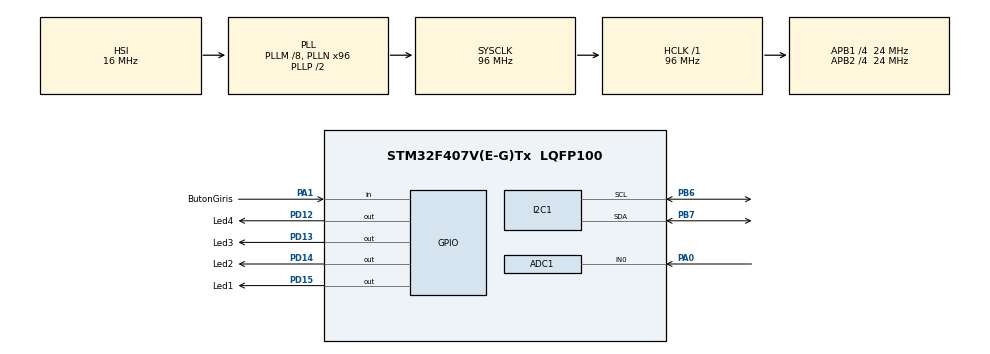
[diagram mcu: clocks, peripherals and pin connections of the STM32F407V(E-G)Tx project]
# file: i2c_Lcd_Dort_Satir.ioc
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ADC1.Channel-0\#ChannelRegularConversion=ADC_CHANNEL_0
ADC1.ClockPrescaler=ADC_CLOCK_SYNC_PCLK_DIV4
ADC1.ContinuousConvMode=ENABLE
ADC1.InjNumberOfConversion=0
ADC1.NbrOfConversionFlag=1
ADC1.Rank-0\#ChannelRegularConversion=1
ADC1.SamplingTime-0\#ChannelRegularConversion=ADC_SAMPLETIME_56CYCLES
ADC1.ScanConvMode=DISABLE
ADC1.master=1
Mcu.Family=STM32F4
Mcu.Name=STM32F407V(E-G)Tx
Mcu.Package=LQFP100
NVIC.PriorityGroup=NVIC_PRIORITYGROUP_4
PA0-WKUP.Signal=ADCx_IN0
PA1.GPIO_Label=ButonGiris
PA1.Signal=GPIO_Input
PB6.Mode=I2C
PB6.Signal=I2C1_SCL
PB7.Mode=I2C
PB7.Signal=I2C1_SDA
PD12.GPIO_Label=Led4
PD12.Signal=GPIO_Output
PD13.GPIO_Label=Led3
PD13.Signal=GPIO_Output
PD14.GPIO_Label=Led2
PD14.Signal=GPIO_Output
PD15.GPIO_Label=Led1
PD15.Signal=GPIO_Output
PH0-OSC_IN.Mode=HSE-External-Oscillator
PH0-OSC_IN.Signal=RCC_OSC_IN
PH1-OSC_OUT.Mode=HSE-External-Oscillator
PH1-OSC_OUT.Signal=RCC_OSC_OUT
ProjectManager.HeapSize=0x200
ProjectManager.StackSize=0x400
ProjectManager.TargetToolchain=STM32CubeIDE
RCC.48MHZClocksFreq_Value=48000000
RCC.AHBFreq_Value=96000000
RCC.APB1CLKDivider=RCC_HCLK_DIV4
RCC.APB1Freq_Value=24000000
RCC.APB1TimFreq_Value=48000000
RCC.APB2CLKDivider=RCC_HCLK_DIV4
RCC.APB2Freq_Value=24000000
RCC.APB2TimFreq_Value=48000000
RCC.CortexFreq_Value=96000000
RCC.HCLKFreq_Value=96000000
RCC.HSE_VALUE=8000000
RCC.HSI_VALUE=16000000
RCC.LSE_VALUE=32768
RCC.PLLM=8
RCC.PLLN=96
RCC.SYSCLKFreq_VALUE=96000000
RCC.SYSCLKSource=RCC_SYSCLKSOURCE_PLLCLK
RCC.VCOOutputFreq_Value=192000000
SH.ADCx_IN0.0=ADC1_IN0,IN0
board=custom

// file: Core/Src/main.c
/* USER CODE BEGIN Header */
/**
  ******************************************************************************
  * @file           : main.c
  * @brief          : Main program body
  ******************************************************************************
  * @attention
  *
  * Copyright (c) 2025 STMicroelectronics.
  * All rights reserved.
  *
  * This software is licensed under terms that can be found in the LICENSE file
  * in the root directory of this software component.
  * If no LICENSE file comes with this software, it is provided AS-IS.
  *
  ******************************************************************************
  */
/* USER CODE END Header */
#include "main.h"

/* USER CODE BEGIN Includes */

#include "fixajLCD.h"
LCD_t lcd;
uint8_t Sayac=0;
const char* Sayi[10];
uint16_t adc_deger;
uint8_t tekSay=0;

/* USER CODE END Includes */

ADC_HandleTypeDef hadc1;

I2C_HandleTypeDef hi2c1;

void SystemClock_Config(void);
static void MX_GPIO_Init(void);
static void MX_I2C1_Init(void);
static void MX_ADC1_Init(void);

/* USER CODE BEGIN 0 */

uint16_t Read_Adc()
{
	HAL_ADC_Start(&hadc1);
	if(HAL_ADC_PollForConversion(&hadc1, 100000) == HAL_OK)
		adc_deger = HAL_ADC_GetValue(&hadc1);

	HAL_ADC_Stop(&hadc1);
}

/* USER CODE END 0 */

int main(void)
{

  /* MCU Configuration--------------------------------------------------------*/

  /* Reset of all peripherals, Initializes the Flash interface and the Systick. */

	HAL_Init();

  /* Configure the system clock */
  SystemClock_Config();

  /* Initialize all configured peripherals */
  MX_GPIO_Init();
  MX_I2C1_Init();
  MX_ADC1_Init();
  /* USER CODE BEGIN 2 */
  if(LCD_kur(&hi2c1, 0x27, 20, 4, &lcd) !=LCD_OK)
  {
  	while(1)
  	{
  		HAL_Delay(250);
  	}
  }

  LCD_temizle(&lcd);
  LCD_ortala(&lcd, 0, "LORA-STM32-C++");
  LCD_yaz_pozisyon(&lcd, 0, 1,"YAZILIM/OTOMASYON");
  LCD_yaz_pozisyon(&lcd, 0, 2, "YAZILIM/KURULUM");
  LCD_yaz_pozisyon(&lcd, 0, 3, "ALI DOGAN");

  /* USER CODE END 2 */

  /* Infinite loop */
  while (1)
  {

    /* USER CODE BEGIN 3 */

	  Read_Adc();
	  Sayac =99  * adc_deger /4095;

	  sprintf(Sayi, "%d", Sayac);

	  if(Sayac <= 9)
	  {
		  LCD_yaz_pozisyon(&lcd, 11, 3, " ");
		  LCD_yaz_pozisyon(&lcd, 12, 3, Sayi);
		  tekSay = 0;
	  }

	  else if(Sayac <= 9)
	  {		LCD_yaz_pozisyon(&lcd, 11, 3, " ");
		/*  if(tekSay == 0)
	  	  {
		  LCD_yaz_pozisyon(&lcd, 12, 3, "0");
	  	  LCD_yaz_pozisyon(&lcd, 11, 3, Sayi);
	  	  tekSay++;
	  	  }*/
	  }

	  else if(Sayac >= 10 && Sayac <=99)
		  LCD_yaz_pozisyon(&lcd, 11, 3, Sayi);

	  else if(Sayac >=100 && Sayac <= 120 )
		  LCD_yaz_pozisyon(&lcd, 10, 3, Sayi);

	  else if(Sayac >= 100)
	  {
		  Sayac = 0;
		  LCD_satir_temizle(&lcd, 3);
		  LCD_yaz_pozisyon(&lcd, 10, 3, "    ");
	  }
  }
  /* USER CODE END 3 */
}

void SystemClock_Config(void)
{
  RCC_OscInitTypeDef RCC_OscInitStruct = {0};
  RCC_ClkInitTypeDef RCC_ClkInitStruct = {0};

  /** Configure the main internal regulator output voltage
  */
  __HAL_RCC_PWR_CLK_ENABLE();
  __HAL_PWR_VOLTAGESCALING_CONFIG(PWR_REGULATOR_VOLTAGE_SCALE1);

  /** Initializes the RCC Oscillators according to the specified parameters
  * in the RCC_OscInitTypeDef structure.
  */
  RCC_OscInitStruct.OscillatorType = RCC_OSCILLATORTYPE_HSI;
  RCC_OscInitStruct.HSIState = RCC_HSI_ON;
  RCC_OscInitStruct.HSICalibrationValue = RCC_HSICALIBRATION_DEFAULT;
  RCC_OscInitStruct.PLL.PLLState = RCC_PLL_ON;
  RCC_OscInitStruct.PLL.PLLSource = RCC_PLLSOURCE_HSI;
  RCC_OscInitStruct.PLL.PLLM = 8;
  RCC_OscInitStruct.PLL.PLLN = 96;
  RCC_OscInitStruct.PLL.PLLP = RCC_PLLP_DIV2;
  RCC_OscInitStruct.PLL.PLLQ = 4;
  if (HAL_RCC_OscConfig(&RCC_OscInitStruct) != HAL_OK)
  {
    Error_Handler();
  }

  /** Initializes the CPU, AHB and APB buses clocks
  */
  RCC_ClkInitStruct.ClockType = RCC_CLOCKTYPE_HCLK|RCC_CLOCKTYPE_SYSCLK
                              |RCC_CLOCKTYPE_PCLK1|RCC_CLOCKTYPE_PCLK2;
  RCC_ClkInitStruct.SYSCLKSource = RCC_SYSCLKSOURCE_PLLCLK;
  RCC_ClkInitStruct.AHBCLKDivider = RCC_SYSCLK_DIV1;
  RCC_ClkInitStruct.APB1CLKDivider = RCC_HCLK_DIV4;
  RCC_ClkInitStruct.APB2CLKDivider = RCC_HCLK_DIV4;

  if (HAL_RCC_ClockConfig(&RCC_ClkInitStruct, FLASH_LATENCY_3) != HAL_OK)
  {
    Error_Handler();
  }
}

static void MX_ADC1_Init(void)
{

  ADC_ChannelConfTypeDef sConfig = {0};

  /** Configure the global features of the ADC (Clock, Resolution, Data Alignment and number of conversion)
  */
  hadc1.Instance = ADC1;
  hadc1.Init.ClockPrescaler = ADC_CLOCK_SYNC_PCLK_DIV4;
  hadc1.Init.Resolution = ADC_RESOLUTION_12B;
  hadc1.Init.ScanConvMode = DISABLE;
  hadc1.Init.ContinuousConvMode = ENABLE;
  hadc1.Init.DiscontinuousConvMode = DISABLE;
  hadc1.Init.ExternalTrigConvEdge = ADC_EXTERNALTRIGCONVEDGE_NONE;
  hadc1.Init.ExternalTrigConv = ADC_SOFTWARE_START;
  hadc1.Init.DataAlign = ADC_DATAALIGN_RIGHT;
  hadc1.Init.NbrOfConversion = 1;
  hadc1.Init.DMAContinuousRequests = DISABLE;
  hadc1.Init.EOCSelection = ADC_EOC_SINGLE_CONV;
  if (HAL_ADC_Init(&hadc1) != HAL_OK)
  {
    Error_Handler();
  }

  /** Configure for the selected ADC regular channel its corresponding rank in the sequencer and its sample time.
  */
  sConfig.Channel = ADC_CHANNEL_0;
  sConfig.Rank = 1;
  sConfig.SamplingTime = ADC_SAMPLETIME_56CYCLES;
  if (HAL_ADC_ConfigChannel(&hadc1, &sConfig) != HAL_OK)
  {
    Error_Handler();
  }

}

static void MX_I2C1_Init(void)
{

  hi2c1.Instance = I2C1;
  hi2c1.Init.ClockSpeed = 100000;
  hi2c1.Init.DutyCycle = I2C_DUTYCYCLE_2;
  hi2c1.Init.OwnAddress1 = 0;
  hi2c1.Init.AddressingMode = I2C_ADDRESSINGMODE_7BIT;
  hi2c1.Init.DualAddressMode = I2C_DUALADDRESS_DISABLE;
  hi2c1.Init.OwnAddress2 = 0;
  hi2c1.Init.GeneralCallMode = I2C_GENERALCALL_DISABLE;
  hi2c1.Init.NoStretchMode = I2C_NOSTRETCH_DISABLE;
  if (HAL_I2C_Init(&hi2c1) != HAL_OK)
  {
    Error_Handler();
  }

}

static void MX_GPIO_Init(void)
{
  GPIO_InitTypeDef GPIO_InitStruct = {0};

  /* GPIO Ports Clock Enable */
  __HAL_RCC_GPIOH_CLK_ENABLE();
  __HAL_RCC_GPIOA_CLK_ENABLE();
  __HAL_RCC_GPIOD_CLK_ENABLE();
  __HAL_RCC_GPIOB_CLK_ENABLE();

  /*Configure GPIO pin Output Level */
  HAL_GPIO_WritePin(GPIOD, Led4_Pin|Led3_Pin|Led2_Pin|Led1_Pin, GPIO_PIN_RESET);

  /*Configure GPIO pin : ButonGiris_Pin */
  GPIO_InitStruct.Pin = ButonGiris_Pin;
  GPIO_InitStruct.Mode = GPIO_MODE_INPUT;
  GPIO_InitStruct.Pull = GPIO_NOPULL;
  HAL_GPIO_Init(ButonGiris_GPIO_Port, &GPIO_InitStruct);

  /*Configure GPIO pins : Led4_Pin Led3_Pin Led2_Pin Led1_Pin */
  GPIO_InitStruct.Pin = Led4_Pin|Led3_Pin|Led2_Pin|Led1_Pin;
  GPIO_InitStruct.Mode = GPIO_MODE_OUTPUT_PP;
  GPIO_InitStruct.Pull = GPIO_NOPULL;
  GPIO_InitStruct.Speed = GPIO_SPEED_FREQ_LOW;
  HAL_GPIO_Init(GPIOD, &GPIO_InitStruct);

}

void Error_Handler(void)
{
  __disable_irq();
  while (1)
  {
  }
}
